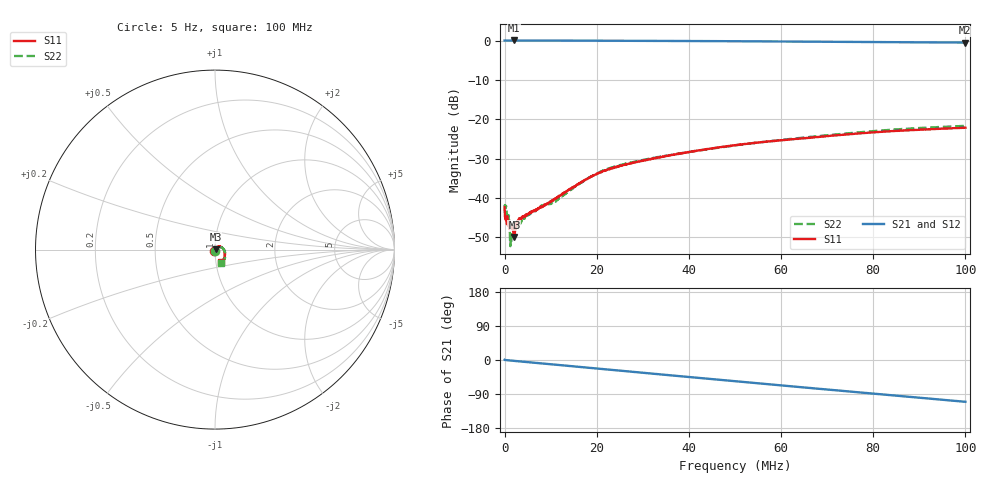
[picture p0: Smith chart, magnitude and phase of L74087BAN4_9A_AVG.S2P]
!Agilent Technologies,E5061B,MY49102235,A.02.00
!Date: Tue Jul 11 16:19:04 2023
!Data & Calibration Information:
!Freq	S11:SOLT2(ON)	S21:SOLT2(ON)	S12:SOLT2(ON)	S22:SOLT2(ON)
# Hz S RI R 50
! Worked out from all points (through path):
!   1600 points, 5 Hz to 100 MHz, reference 50 ohm
!   highest |S21| = 0.02 dB at 2.001 MHz (marker M1); lowest = -0.5 dB at 99.81 MHz (marker M2)
!   group delay of S21, straight-line fit = 3.07 ns
!   lowest |S11| = -49.9 dB at 2.126 MHz (marker M3), VSWR 1.01, Z = 50.3 + j0.15 ohm
!   |S11| at or under -10 dB: start of sweep to end of sweep
!   |S22| runs from -52.2 to -21.7 dB; largest |S21 - S12| = 0.0025
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5  -0.00525 -0.00563  1.002 0.00807  1 0.0102  -0.00149 -0.00756
500317.7  0.00463 0.000585  1.001 -0.00866  1.002 -0.00876  0.00483 -0.00101
1000630  0.00381 0.00133  1.001 -0.0184  1.001 -0.0181  0.00519 0.000399
1500943  0.00443 0.00064  1.001 -0.0279  1.001 -0.028  0.00311 -0.000528
1688560  0.00397 0.000817  1 -0.0328  1.001 -0.0329  0.00371 -1.3e-05
2001256  0.00319 0.00138  1.002 -0.0391  1.001 -0.0388  0.00333 0.00166
2126334  0.00284 0.00149  1.001 -0.0415  1 -0.0412  0.00399 0.00206
2439029  0.00399 0.00206  0.9993 -0.0481  0.9993 -0.0477  0.00386 0.00254
2939342  0.00455 0.00254  0.9993 -0.0574  0.9989 -0.0575  0.00348 0.00292
3502194  0.00468 0.00281  0.9983 -0.0684  0.9983 -0.0683  0.00373 0.00343
4878054  0.0049 0.00391  0.9964 -0.0952  0.9963 -0.0952  0.00437 0.00433
7942469  0.00499 0.00579  0.9889 -0.1553  0.9888 -0.1554  0.00462 0.00633
1.100688e7  0.00579 0.00802  0.9773 -0.2147  0.9771 -0.2145  0.00472 0.00795
1.669794e7  0.00916 0.0131  0.945 -0.3223  0.945 -0.3221  0.00857 0.0132
2.013759e7  0.0133 0.0156  0.92 -0.3848  0.92 -0.3848  0.014 0.0152
2.332708e7  0.017 0.0169  0.893 -0.441  0.8928 -0.4409  0.0185 0.016
3.333334e7  0.0285 0.016  0.786 -0.6022  0.786 -0.602  0.0293 0.0155
5.003127e7  0.0469 0.00356  0.5486 -0.8121  0.5486 -0.812  0.0466 0.00402
6.672921e7  0.0549 -0.0203  0.2611 -0.9317  0.2612 -0.9317  0.0571 -0.0192
8.33646e7  0.0516 -0.0479  -0.0402 -0.9532  -0.0403 -0.9533  0.0546 -0.0488
9.981238e7  0.0326 -0.0712  -0.3239 -0.8848  -0.3241 -0.885  0.036 -0.074
1e8  0.0321 -0.0714  -0.3272 -0.8836  -0.3272 -0.8837  0.0357 -0.0744
